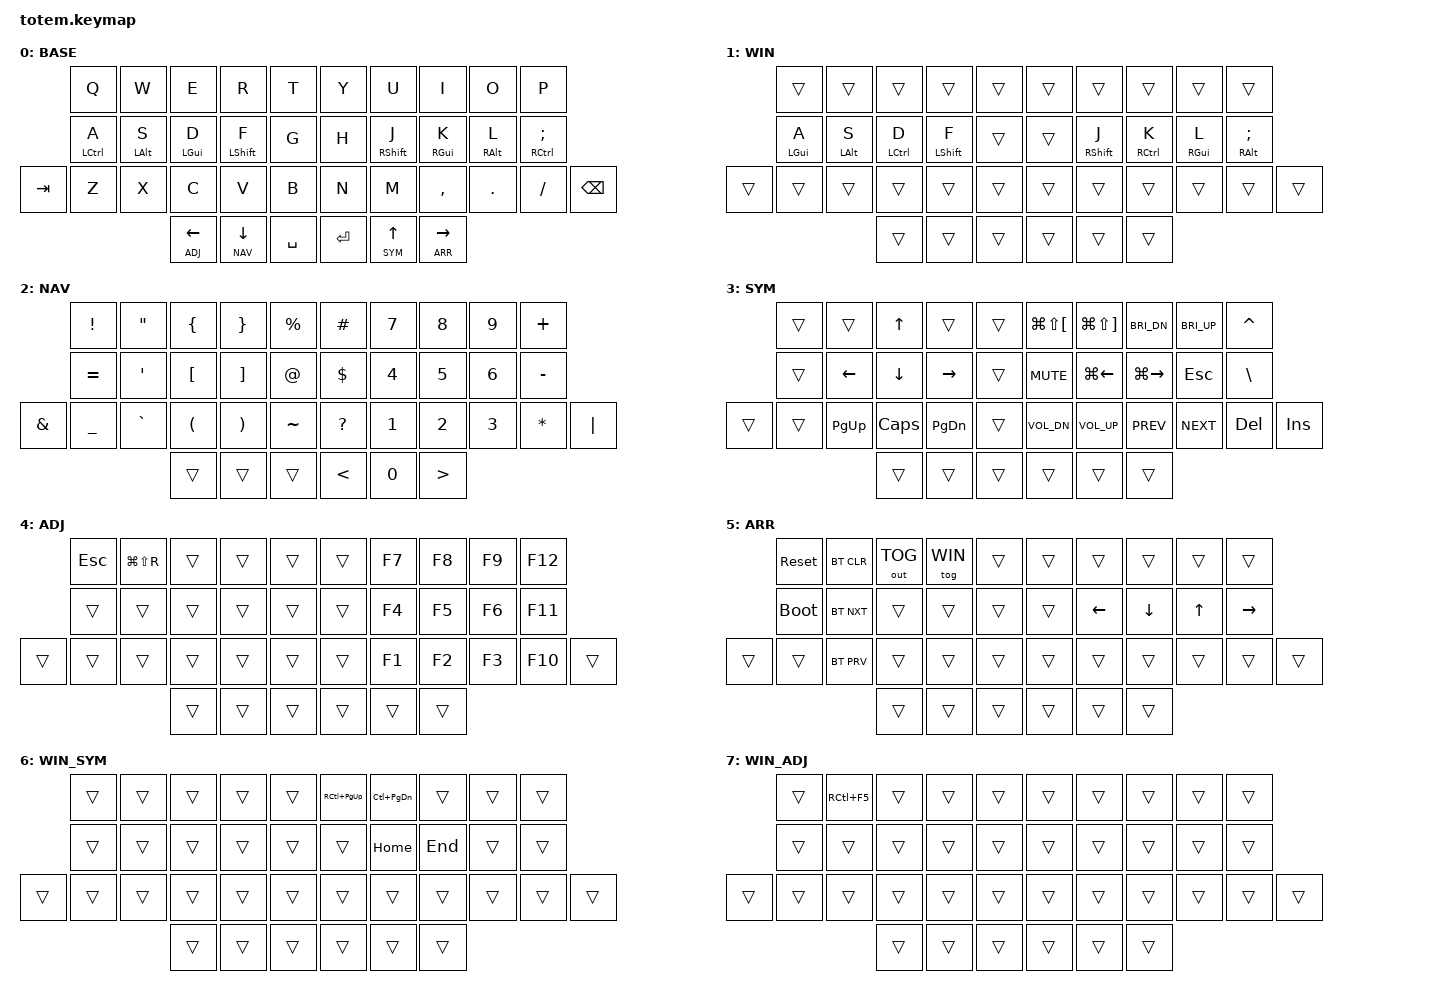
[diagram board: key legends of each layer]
//
//                                                        ▀▀▀▀▀     ▀▀▀▀▀          ▀▀█▀▀
//                                                        ▄▀▀▀▄  ▄  ▄▀▀▀▄  ▄  ▄▀▀▀▄  █  ▄▀▀▀▄
//                                                        █   █  █  █   █  █  █   █  █  █   █
//                                                         ▀▀▀   █   ▀▀▀   █   ▀▀▀   ▀   ▀▀▀
//                                                               █      ▄▄▄█▄▄▄    █   █  
//                                                               ▀      █  █  █     █▄█
//                                                             ▀▀▀▀▀    █  █  █      ▀
//                                                                      ▀  ▀  ▀
//
// ▄▄▄▄▄▄▄▄▄▄▄▄▄▄▄▄▄▄▄▄▄▄▄▄▄▄▄▄▄▄▄▄▄▄▄▄▄▄▄▄▄▄▄▄▄▄▄▄▄▄▄▄▄▄▄▄▄▄▄▄▄▄▄▄▄▄▄▄▄▄▄▄▄▄▄▄▄▄▄▄▄▄▄▄▄▄▄▄▄▄▄▄▄▄▄▄▄▄▄▄▄▄▄▄▄▄▄▄▄▄▄▄▄▄▄▄▄▄▄▄▄▄▄▄▄▄▄▄▄▄▄▄▄▄▄▄▄▄▄▄▄▄▄▄▄▄▄▄▄

#include <behaviors.dtsi>
#include <dt-bindings/zmk/bt.h>
#include <dt-bindings/zmk/keys.h>
#include <dt-bindings/zmk/outputs.h>

#define BASE    0   // macOS (default)
#define WIN     1   // Windows overrides, toggled from ARR layer
#define NAV     2
#define SYM     3
#define ADJ     4
#define ARR     5
#define WIN_SYM 6   // active automatically when WIN + SYM
#define WIN_ADJ 7   // active automatically when WIN + ADJ

&mt {
    quick-tap-ms = <100>;
    global-quick-tap;
    flavor = "tap-preferred";
    tapping-term-ms = <190>;
};

/ {
    combos {
        compatible = "zmk,combos";

        combo_esc {
            timeout-ms = <50>;
            key-positions = <0 1>;
            bindings = <&kp ESC>;
        };
    };

    macros {
    };

    conditional_layers {
        compatible = "zmk,conditional-layers";

        win_sym {
            if-layers = <WIN SYM>;
            then-layer = <WIN_SYM>;
        };

        win_adj {
            if-layers = <WIN ADJ>;
            then-layer = <WIN_ADJ>;
        };
    };

    keymap {
        compatible = "zmk,keymap";

        // ▄▄▄▄▄▄▄▄▄▄▄▄▄▄▄▄▄▄▄▄▄▄▄▄▄▄▄▄▄▄▄▄▄▄▄▄▄▄▄▄▄▄▄▄▄▄▄▄▄▄▄▄▄▄▄▄▄▄▄▄▄▄▄▄▄▄▄▄▄▄▄▄▄▄▄▄▄▄▄▄▄▄▄▄▄▄▄▄▄▄▄▄▄▄▄▄▄▄▄▄▄▄▄▄▄▄▄▄▄▄▄▄▄▄▄▄▄▄▄▄▄▄▄▄▄▄▄▄▄▄▄▄▄▄▄▄▄▄▄▄▄▄▄▄▄▄▄▄▄

        base_layer {
            // ┏━━━━━━━━━━━━━━━━━━━━━━━━━━━━━━━━━━━━━━━┓

            label = "BASE";

            // macOS home row mods: A=CTRL S=OPT D=CMD F=SHIFT | J=SHIFT K=CMD L=OPT ;=CTRL

            // ┗━━━━━━━━━━━━━━━━━━━━━━━━━━━━━━━━━━━━━━━┛
            //             ┏━━━━━━━━━━━┳━━━━━━━━━━━┳━━━━━━━━━━━┳━━━━━━━━━━━┳━━━━━━━━━━━┓   ┏━━━━━━━━━━━┳━━━━━━━━━━━┳━━━━━━━━━━━┳━━━━━━━━━━━┳━━━━━━━━━━━┓
            //             ┃     Q     ┃     W     ┃     E     ┃     R     ┃     T     ┃   ┃     Y     ┃     U     ┃     I     ┃     O     ┃     P     ┃
            //             ┣━━━━━━━━━━━╋━━━━━━━━━━━╋━━━━━━━━━━━╋━━━━━━━━━━━╋━━━━━━━━━━━┫   ┣━━━━━━━━━━━╋━━━━━━━━━━━╋━━━━━━━━━━━╋━━━━━━━━━━━╋━━━━━━━━━━━┫
            //             ┃     A     ┃     S     ┃     D     ┃     F     ┃     G     ┃   ┃     H     ┃     J     ┃     K     ┃     L     ┃     ;     ┃
            // ┏━━━━━━━━━━━╋━━━━━━━━━━━╋━━━━━━━━━━━╋━━━━━━━━━━━╋━━━━━━━━━━━╋━━━━━━━━━━━┫   ┣━━━━━━━━━━━╋━━━━━━━━━━━╋━━━━━━━━━━━╋━━━━━━━━━━━╋━━━━━━━━━━━╋━━━━━━━━━━━┓
            // ┃    TAB    ┃     Z     ┃     X     ┃     C     ┃     V     ┃     B     ┃   ┃     N     ┃     M     ┃     ,     ┃     .     ┃     /     ┃    BSPC   ┃
            // ┗━━━━━━━━━━━┻━━━━━━━━━━━┻━━━━━━━━━━━╋━━━━━━━━━━━╋━━━━━━━━━━━╋━━━━━━━━━━━┫   ┣━━━━━━━━━━━╋━━━━━━━━━━━╋━━━━━━━━━━━╋━━━━━━━━━━━┻━━━━━━━━━━━┻━━━━━━━━━━━┛
            //                                     ┃    LEFT   ┃    DOWN   ┃    SPC    ┃   ┃   ENTER   ┃     UP    ┃   RIGHT   ┃
            //                                     ┗━━━━━━━━━━━┻━━━━━━━━━━━┻━━━━━━━━━━━┛   ┗━━━━━━━━━━━┻━━━━━━━━━━━┻━━━━━━━━━━━┛

            bindings = <
            &kp Q       &kp W       &kp E          &kp R         &kp T        &kp Y    &kp U        &kp I         &kp O       &kp P
            &mt LCTRL A &mt LALT S  &mt LGUI D     &mt LSHFT F   &kp G        &kp H    &mt RSHFT J  &mt RGUI K    &mt RALT L  &mt RCTRL SEMI
&kp TAB     &kp Z       &kp X       &kp C          &kp V         &kp B        &kp N    &kp M        &kp COMMA     &kp DOT     &kp FSLH       &kp BSPC
                                    &lt ADJ LEFT   &lt NAV DOWN  &kp SPACE    &kp RET  &lt SYM UP   &lt ARR RIGHT
            >;
        };

        // ▄▄▄▄▄▄▄▄▄▄▄▄▄▄▄▄▄▄▄▄▄▄▄▄▄▄▄▄▄▄▄▄▄▄▄▄▄▄▄▄▄▄▄▄▄▄▄▄▄▄▄▄▄▄▄▄▄▄▄▄▄▄▄▄▄▄▄▄▄▄▄▄▄▄▄▄▄▄▄▄▄▄▄▄▄▄▄▄▄▄▄▄▄▄▄▄▄▄▄▄▄▄▄▄▄▄▄▄▄▄▄▄▄▄▄▄▄▄▄▄▄▄▄▄▄▄▄▄▄▄▄▄▄▄▄▄▄▄▄▄▄▄▄▄▄▄▄▄▄

        win_layer {
            label = "WIN";

            // Windows home row mods: A=WIN S=ALT D=CTRL F=SHIFT | J=SHIFT K=CTRL L=WIN ;=ALT
            // Everything else falls through to BASE.

            bindings = <
            &trans      &trans      &trans         &trans        &trans       &trans   &trans       &trans        &trans      &trans
            &mt LGUI A  &mt LALT S  &mt LCTRL D    &mt LSHFT F   &trans       &trans   &mt RSHFT J  &mt RCTRL K   &mt RGUI L  &mt RALT SEMI
&trans      &trans      &trans      &trans         &trans        &trans       &trans   &trans       &trans        &trans      &trans         &trans
                                    &trans         &trans        &trans       &trans   &trans       &trans
            >;
        };

        nav_layer {
            // ┏━━━━━━━━━━━━━━━━━━━━━━━━━━━━━━━━━━━━━━━┓

            label = "NAV";

            // ┗━━━━━━━━━━━━━━━━━━━━━━━━━━━━━━━━━━━━━━━┛
            //             ┏━━━━━━━━━━━┳━━━━━━━━━━━┳━━━━━━━━━━━┳━━━━━━━━━━━┳━━━━━━━━━━━┓   ┏━━━━━━━━━━━┳━━━━━━━━━━━┳━━━━━━━━━━━┳━━━━━━━━━━━┳━━━━━━━━━━━┓
            //             ┃     !     ┃     "     ┃     {     ┃     }     ┃     %     ┃   ┃     #     ┃     7     ┃     8     ┃     9     ┃     +     ┃
            //             ┣━━━━━━━━━━━╋━━━━━━━━━━━╋━━━━━━━━━━━╋━━━━━━━━━━━╋━━━━━━━━━━━┫   ┣━━━━━━━━━━━╋━━━━━━━━━━━╋━━━━━━━━━━━╋━━━━━━━━━━━╋━━━━━━━━━━━┫
            //             ┃     =     ┃     '     ┃     [     ┃     ]     ┃     @     ┃   ┃     $     ┃     4     ┃     5     ┃     6     ┃     -     ┃
            // ┏━━━━━━━━━━━╋━━━━━━━━━━━╋━━━━━━━━━━━╋━━━━━━━━━━━╋━━━━━━━━━━━╋━━━━━━━━━━━┫   ┣━━━━━━━━━━━╋━━━━━━━━━━━╋━━━━━━━━━━━╋━━━━━━━━━━━╋━━━━━━━━━━━╋━━━━━━━━━━━┓
            // ┃     &     ┃     _     ┃     `     ┃     (     ┃     )     ┃     ~     ┃   ┃     ?     ┃     1     ┃     2     ┃     3     ┃     *     ┃     |     ┃
            // ┗━━━━━━━━━━━┻━━━━━━━━━━━┻━━━━━━━━━━━╋━━━━━━━━━━━╋━━━━━━━━━━━╋━━━━━━━━━━━┫   ┣━━━━━━━━━━━╋━━━━━━━━━━━╋━━━━━━━━━━━╋━━━━━━━━━━━┻━━━━━━━━━━━┻━━━━━━━━━━━┛
            //                                     ┃           ┃           ┃           ┃   ┃     <     ┃     0     ┃     >     ┃
            //                                     ┗━━━━━━━━━━━┻━━━━━━━━━━━┻━━━━━━━━━━━┛   ┗━━━━━━━━━━━┻━━━━━━━━━━━┻━━━━━━━━━━━┛

            bindings = <
          &kp EXCL    &kp DQT      &kp LBRC    &kp RBRC  &kp PRCNT    &kp HASH   &kp N7  &kp N8  &kp N9  &kp PLUS
          &kp EQUAL   &kp SQT      &kp LBKT    &kp RBKT  &kp AT       &kp DLLR   &kp N4  &kp N5  &kp N6  &kp MINUS
&kp AMPS  &kp UNDER   &kp GRAVE    &kp LPAR    &kp RPAR  &kp TILDE    &kp QMARK  &kp N1  &kp N2  &kp N3  &kp STAR  &kp PIPE
                                   &trans      &trans    &trans       &kp LT     &kp N0  &kp GT
            >;
        };

        // ▄▄▄▄▄▄▄▄▄▄▄▄▄▄▄▄▄▄▄▄▄▄▄▄▄▄▄▄▄▄▄▄▄▄▄▄▄▄▄▄▄▄▄▄▄▄▄▄▄▄▄▄▄▄▄▄▄▄▄▄▄▄▄▄▄▄▄▄▄▄▄▄▄▄▄▄▄▄▄▄▄▄▄▄▄▄▄▄▄▄▄▄▄▄▄▄▄▄▄▄▄▄▄▄▄▄▄▄▄▄▄▄▄▄▄▄▄▄▄▄▄▄▄▄▄▄▄▄▄▄▄▄▄▄▄▄▄▄▄▄▄▄▄▄▄▄▄▄▄

        sim_layer {
            // ┏━━━━━━━━━━━━━━━━━━━━━━━━━━━━━━━━━━━━━━━┓

            label = "SYM";

            // ┗━━━━━━━━━━━━━━━━━━━━━━━━━━━━━━━━━━━━━━━┛
            //             ┏━━━━━━━━━━━┳━━━━━━━━━━━┳━━━━━━━━━━━┳━━━━━━━━━━━┳━━━━━━━━━━━┓   ┏━━━━━━━━━━━┳━━━━━━━━━━━┳━━━━━━━━━━━┳━━━━━━━━━━━┳━━━━━━━━━━━┓
            //             ┃           ┃           ┃    UP     ┃           ┃           ┃   ┃  PREV_TAB ┃ NEXT_TAB  ┃ C_BRI_DN  ┃  C_BRI_UP ┃     ˆ     ┃
            //             ┣━━━━━━━━━━━╋━━━━━━━━━━━╋━━━━━━━━━━━╋━━━━━━━━━━━╋━━━━━━━━━━━┫   ┣━━━━━━━━━━━╋━━━━━━━━━━━╋━━━━━━━━━━━╋━━━━━━━━━━━╋━━━━━━━━━━━┫
            //             ┃           ┃   LEFT    ┃    DOWN   ┃   RIGHT   ┃           ┃   ┃   MUTE    ┃   HOME    ┃    END    ┃    ESC    ┃     \     ┃
            // ┏━━━━━━━━━━━╋━━━━━━━━━━━╋━━━━━━━━━━━╋━━━━━━━━━━━╋━━━━━━━━━━━╋━━━━━━━━━━━┫   ┣━━━━━━━━━━━╋━━━━━━━━━━━╋━━━━━━━━━━━╋━━━━━━━━━━━╋━━━━━━━━━━━╋━━━━━━━━━━━┓
            // ┃           ┃           ┃   P UP    ┃  C LOCK   ┃  P DOWN   ┃           ┃   ┃   VOL-    ┃   VOL+    ┃   LAST    ┃   NEXT    ┃    DEL    ┃    INS    ┃
            // ┗━━━━━━━━━━━┻━━━━━━━━━━━┻━━━━━━━━━━━╋━━━━━━━━━━━╋━━━━━━━━━━━╋━━━━━━━━━━━┫   ┣━━━━━━━━━━━╋━━━━━━━━━━━╋━━━━━━━━━━━╋━━━━━━━━━━━┻━━━━━━━━━━━┻━━━━━━━━━━━┛
            //                                     ┃           ┃           ┃           ┃   ┃           ┃           ┃           ┃
            //                                     ┗━━━━━━━━━━━┻━━━━━━━━━━━┻━━━━━━━━━━━┛   ┗━━━━━━━━━━━┻━━━━━━━━━━━┻━━━━━━━━━━━┛

            bindings = <
        &trans    &trans       &kp UP     &trans     &trans       &kp LG(LS(LBKT)) &kp LG(LS(RBKT)) &kp C_BRI_DN &kp C_BRI_UP &kp CARET
        &trans    &kp LEFT     &kp DOWN   &kp RIGHT  &trans       &kp C_MUTE      &kp LG(LEFT)    &kp LG(RIGHT)     &kp ESC        &kp BSLH
&trans  &trans    &kp PG_UP    &kp CAPS   &kp PG_DN  &trans       &kp C_VOL_DN    &kp C_VOL_UP    &kp C_PREV    &kp C_NEXT     &kp DEL    &kp INS
                               &trans     &trans     &trans       &trans          &trans          &trans
            >;
        };

        // ▄▄▄▄▄▄▄▄▄▄▄▄▄▄▄▄▄▄▄▄▄▄▄▄▄▄▄▄▄▄▄▄▄▄▄▄▄▄▄▄▄▄▄▄▄▄▄▄▄▄▄▄▄▄▄▄▄▄▄▄▄▄▄▄▄▄▄▄▄▄▄▄▄▄▄▄▄▄▄▄▄▄▄▄▄▄▄▄▄▄▄▄▄▄▄▄▄▄▄▄▄▄▄▄▄▄▄▄▄▄▄▄▄▄▄▄▄▄▄▄▄▄▄▄▄▄▄▄▄▄▄▄▄▄▄▄▄▄▄▄▄▄▄▄▄▄▄▄▄

        adjust_layer {
            // ┏━━━━━━━━━━━━━━━━━━━━━━━━━━━━━━━━━━━━━━━┓

            label = "ADJ";

            // ┗━━━━━━━━━━━━━━━━━━━━━━━━━━━━━━━━━━━━━━━┛
            //             ┏━━━━━━━━━━━┳━━━━━━━━━━━┳━━━━━━━━━━━┳━━━━━━━━━━━┳━━━━━━━━━━━┓   ┏━━━━━━━━━━━┳━━━━━━━━━━━┳━━━━━━━━━━━┳━━━━━━━━━━━┳━━━━━━━━━━━┓
            //             ┃    ESC    ┃  RELOAD   ┃           ┃           ┃           ┃   ┃           ┃    F7     ┃    F8     ┃    F9     ┃    F12    ┃
            //             ┣━━━━━━━━━━━╋━━━━━━━━━━━╋━━━━━━━━━━━╋━━━━━━━━━━━╋━━━━━━━━━━━┫   ┣━━━━━━━━━━━╋━━━━━━━━━━━╋━━━━━━━━━━━╋━━━━━━━━━━━╋━━━━━━━━━━━┫
            //             ┃           ┃           ┃           ┃           ┃           ┃   ┃           ┃    F4     ┃    F5     ┃    F6     ┃    F11    ┃
            // ┏━━━━━━━━━━━╋━━━━━━━━━━━╋━━━━━━━━━━━╋━━━━━━━━━━━╋━━━━━━━━━━━╋━━━━━━━━━━━┫   ┣━━━━━━━━━━━╋━━━━━━━━━━━╋━━━━━━━━━━━╋━━━━━━━━━━━╋━━━━━━━━━━━╋━━━━━━━━━━━┓
            // ┃           ┃           ┃           ┃           ┃           ┃           ┃   ┃           ┃    F1     ┃    F2     ┃    F3     ┃    F10    ┃           ┃
            // ┗━━━━━━━━━━━┻━━━━━━━━━━━┻━━━━━━━━━━━╋━━━━━━━━━━━╋━━━━━━━━━━━╋━━━━━━━━━━━┫   ┣━━━━━━━━━━━╋━━━━━━━━━━━╋━━━━━━━━━━━╋━━━━━━━━━━━┻━━━━━━━━━━━┻━━━━━━━━━━━┛
            //                                     ┃           ┃           ┃           ┃   ┃           ┃           ┃           ┃
            //                                     ┗━━━━━━━━━━━┻━━━━━━━━━━━┻━━━━━━━━━━━┛   ┗━━━━━━━━━━━┻━━━━━━━━━━━┻━━━━━━━━━━━┛

            bindings = <
        &kp ESC  &kp LG(LS(R))  &trans   &trans  &trans    &trans  &kp F7  &kp F8  &kp F9  &kp F12
        &trans   &trans      &trans   &trans  &trans    &trans  &kp F4  &kp F5  &kp F6  &kp F11
&trans  &trans   &trans      &trans   &trans  &trans    &trans  &kp F1  &kp F2  &kp F3  &kp F10  &trans
                             &trans   &trans  &trans    &trans  &trans  &trans
            >;
        };
        
        // ▄▄▄▄▄▄▄▄▄▄▄▄▄▄▄▄▄▄▄▄▄▄▄▄▄▄▄▄▄▄▄▄▄▄▄▄▄▄▄▄▄▄▄▄▄▄▄▄▄▄▄▄▄▄▄▄▄▄▄▄▄▄▄▄▄▄▄▄▄▄▄▄▄▄▄▄▄▄▄▄▄▄▄▄▄▄▄▄▄▄▄▄▄▄▄▄▄▄▄▄▄▄▄▄▄▄▄▄▄▄▄▄▄▄▄▄▄▄▄▄▄▄▄▄▄▄▄▄▄▄▄▄▄▄▄▄▄▄▄▄▄▄▄▄▄▄▄▄▄

        arr_layer {
            // ┏━━━━━━━━━━━━━━━━━━━━━━━━━━━━━━━━━━━━━━━┓

            label = "ARR";

            // ┗━━━━━━━━━━━━━━━━━━━━━━━━━━━━━━━━━━━━━━━┛
            //             ┏━━━━━━━━━━━┳━━━━━━━━━━━┳━━━━━━━━━━━┳━━━━━━━━━━━┳━━━━━━━━━━━┓   ┏━━━━━━━━━━━┳━━━━━━━━━━━┳━━━━━━━━━━━┳━━━━━━━━━━━┳━━━━━━━━━━━┓
            //             ┃   RESET   ┃ BT CLEAR  ┃  OUT TOG  ┃  WIN TOG  ┃           ┃   ┃           ┃           ┃           ┃           ┃           ┃
            //             ┣━━━━━━━━━━━╋━━━━━━━━━━━╋━━━━━━━━━━━╋━━━━━━━━━━━╋━━━━━━━━━━━┫   ┣━━━━━━━━━━━╋━━━━━━━━━━━╋━━━━━━━━━━━╋━━━━━━━━━━━╋━━━━━━━━━━━┫
            //             ┃ BOOTLOAD  ┃ BT NEXT   ┃           ┃           ┃           ┃   ┃           ┃    LEFT   ┃   DOWN    ┃     UP    ┃   RIGHT   ┃
            // ┏━━━━━━━━━━━╋━━━━━━━━━━━╋━━━━━━━━━━━╋━━━━━━━━━━━╋━━━━━━━━━━━╋━━━━━━━━━━━┫   ┣━━━━━━━━━━━╋━━━━━━━━━━━╋━━━━━━━━━━━╋━━━━━━━━━━━╋━━━━━━━━━━━╋━━━━━━━━━━━┓
            // ┃           ┃           ┃ BT PREV   ┃           ┃           ┃           ┃   ┃           ┃           ┃           ┃           ┃           ┃           ┃
            // ┗━━━━━━━━━━━┻━━━━━━━━━━━┻━━━━━━━━━━━╋━━━━━━━━━━━╋━━━━━━━━━━━╋━━━━━━━━━━━┫   ┣━━━━━━━━━━━╋━━━━━━━━━━━╋━━━━━━━━━━━╋━━━━━━━━━━━┻━━━━━━━━━━━┻━━━━━━━━━━━┛
            //                                     ┃           ┃           ┃           ┃   ┃           ┃           ┃           ┃
            //                                     ┗━━━━━━━━━━━┻━━━━━━━━━━━┻━━━━━━━━━━━┛   ┗━━━━━━━━━━━┻━━━━━━━━━━━┻━━━━━━━━━━━┛

            bindings = <
        &sys_reset   &bt BT_CLR    &out OUT_TOG   &tog WIN  &trans      &trans   &trans     &trans     &trans   &trans
        &bootloader  &bt BT_NXT    &trans         &trans  &trans      &trans   &kp LEFT   &kp DOWN   &kp UP   &kp RIGHT
&trans  &trans       &bt BT_PRV    &trans         &trans  &trans      &trans   &trans     &trans     &trans  &trans   &trans
                                   &trans         &trans  &trans      &trans   &trans     &trans
            >;
        };

        win_sym_layer {
            label = "WIN_SYM";

            // Windows versions of SYM keys: Ctrl+PgUp/PgDn tabs, HOME/END
            bindings = <
        &trans    &trans       &trans     &trans     &trans       &kp RC(PG_UP)   &kp LC(PG_DN)   &trans        &trans         &trans
        &trans    &trans       &trans     &trans     &trans       &trans          &kp HOME        &kp END       &trans         &trans
&trans  &trans    &trans       &trans     &trans     &trans       &trans          &trans          &trans        &trans         &trans     &trans
                               &trans     &trans     &trans       &trans          &trans          &trans
            >;
        };

        win_adj_layer {
            label = "WIN_ADJ";

            // Windows hard reload: Ctrl+F5
            bindings = <
        &trans   &kp RC(F5)  &trans   &trans  &trans    &trans  &trans  &trans  &trans  &trans
        &trans   &trans      &trans   &trans  &trans    &trans  &trans  &trans  &trans  &trans
&trans  &trans   &trans      &trans   &trans  &trans    &trans  &trans  &trans  &trans  &trans  &trans
                             &trans   &trans  &trans    &trans  &trans  &trans
            >;
        };
    };
};
